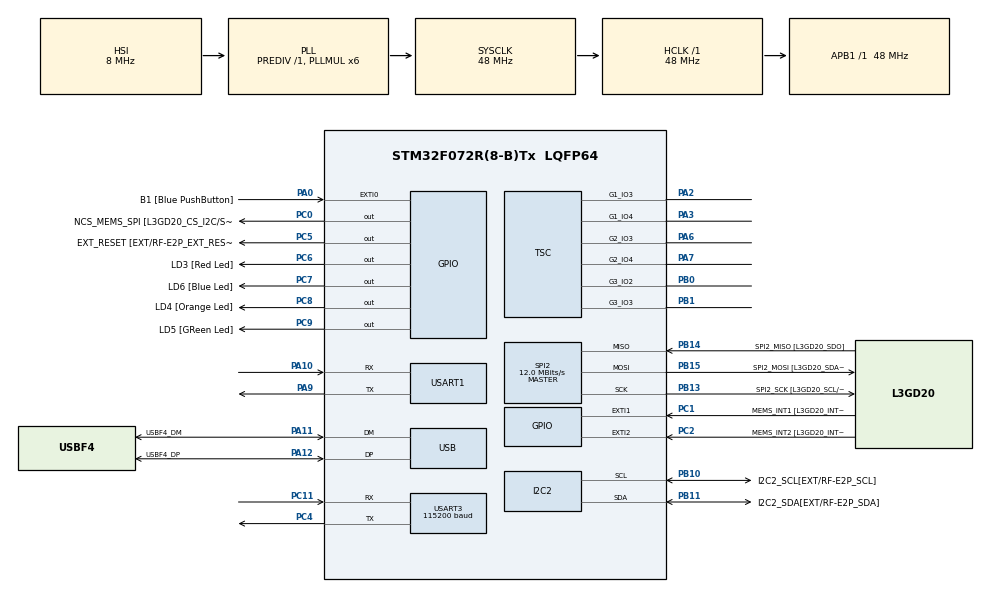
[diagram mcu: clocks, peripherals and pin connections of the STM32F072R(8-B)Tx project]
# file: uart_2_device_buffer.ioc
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I2C2.Timing=0x20303E5D
Mcu.Family=STM32F0
Mcu.Name=STM32F072R(8-B)Tx
Mcu.Package=LQFP64
NVIC.USART1_IRQn=true\:0\:0\:false\:false\:true\:true\:true\:true
NVIC.USART3_4_IRQn=true\:0\:0\:false\:false\:true\:true\:true\:true
PA0.GPIO_Label=B1 [Blue PushButton]
PA0.GPIO_ModeDefaultEXTI=GPIO_MODE_EVT_RISING
PA0.Signal=GPXTI0
PA10.Mode=Asynchronous
PA10.Signal=USART1_RX
PA11.GPIO_Label=USBF4_DM
PA11.Mode=Device
PA11.Signal=USB_DM
PA12.GPIO_Label=USBF4_DP
PA12.Mode=Device
PA12.Signal=USB_DP
PA13.GPIO_Label=SWDIO
PA13.Mode=Serial_Wire
PA13.Signal=SYS_SWDIO
PA14.GPIO_Label=SWCLK
PA14.Mode=Serial_Wire
PA14.Signal=SYS_SWCLK
PA2.Mode=G1_IO3-Channel
PA2.Signal=TSC_G1_IO3
PA3.Mode=G1_IO4-Sampling
PA3.Signal=TSC_G1_IO4
PA6.Mode=G2_IO3-Channel
PA6.Signal=TSC_G2_IO3
PA7.Mode=G2_IO4-Sampling
PA7.Signal=TSC_G2_IO4
PA9.Mode=Asynchronous
PA9.Signal=USART1_TX
PB0.Mode=G3_IO2-Channel
PB0.Signal=TSC_G3_IO2
PB1.Mode=G3_IO3-Sampling
PB1.Signal=TSC_G3_IO3
PB10.GPIO_Label=I2C2_SCL[EXT/RF-E2P_SCL]
PB10.GPIO_Pu=GPIO_PULLUP
PB10.Mode=I2C
PB10.Signal=I2C2_SCL
PB11.GPIO_Label=I2C2_SDA[EXT/RF-E2P_SDA]
PB11.GPIO_Pu=GPIO_PULLUP
PB11.Mode=I2C
PB11.Signal=I2C2_SDA
PB13.GPIO_Label=SPI2_SCK [L3GD20_SCL/SPC]
PB13.Mode=Full_Duplex_Master
PB13.Signal=SPI2_SCK
PB14.GPIO_Label=SPI2_MISO [L3GD20_SDO]
PB14.Mode=Full_Duplex_Master
PB14.Signal=SPI2_MISO
PB15.GPIO_Label=SPI2_MOSI [L3GD20_SDA/SDI]
PB15.Mode=Full_Duplex_Master
PB15.Signal=SPI2_MOSI
PC0.GPIO_Label=NCS_MEMS_SPI [L3GD20_CS_I2C/SPI]
PC0.Signal=GPIO_Output
PC1.GPIO_Label=MEMS_INT1 [L3GD20_INT1]
PC1.GPIO_ModeDefaultEXTI=GPIO_MODE_EVT_RISING
PC1.Signal=GPXTI1
PC11.Mode=Asynchronous
PC11.Signal=USART3_RX
PC2.GPIO_Label=MEMS_INT2 [L3GD20_INT2]
PC2.GPIO_ModeDefaultEXTI=GPIO_MODE_EVT_RISING
PC2.Signal=GPXTI2
PC4.Mode=Asynchronous
PC4.Signal=USART3_TX
PC5.GPIO_Label=EXT_RESET [EXT/RF-E2P_EXT_RESET]
PC5.Signal=GPIO_Output
PC6.GPIO_Label=LD3 [Red Led]
PC6.Signal=GPIO_Output
PC7.GPIO_Label=LD6 [Blue Led]
PC7.Signal=GPIO_Output
PC8.GPIO_Label=LD4 [Orange Led]
PC8.Signal=GPIO_Output
PC9.GPIO_Label=LD5 [GReen Led]
PC9.Signal=GPIO_Output
ProjectManager.HeapSize=0x200
ProjectManager.StackSize=0x400
ProjectManager.TargetToolchain=STM32CubeIDE
RCC.AHBFreq_Value=48000000
RCC.APB1Freq_Value=48000000
RCC.APB1TimFreq_Value=48000000
RCC.HCLKFreq_Value=48000000
RCC.PLLMUL=RCC_PLL_MUL6
RCC.SYSCLKFreq_VALUE=48000000
RCC.SYSCLKSource=RCC_SYSCLKSOURCE_PLLCLK
SPI2.BaudRatePrescaler=SPI_BAUDRATEPRESCALER_4
SPI2.CalculateBaudRate=12.0 MBits/s
SPI2.Direction=SPI_DIRECTION_2LINES
SPI2.Mode=SPI_MODE_MASTER
SPI2.VirtualType=VM_MASTER
USART1.VirtualMode-Asynchronous=VM_ASYNC
USART3.BaudRate=115200
USART3.VirtualMode-Asynchronous=VM_ASYNC
USB.phy_itface=PCD_PHY_EMBEDDED
USB.speed=PCD_SPEED_FULL
board=STM32F072B-DISCO

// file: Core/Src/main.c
/* USER CODE BEGIN Header */
/**
  ******************************************************************************
  * @file           : main.c
  * @brief          : Main program body
  ******************************************************************************
  * @attention
  *
  * Copyright (c) 2026 STMicroelectronics.
  * All rights reserved.
  *
  * This software is licensed under terms that can be found in the LICENSE file
  * in the root directory of this software component.
  * If no LICENSE file comes with this software, it is provided AS-IS.
  *
  ******************************************************************************
  */
/* USER CODE END Header */
#include "main.h"

I2C_HandleTypeDef hi2c2;

SPI_HandleTypeDef hspi2;

TSC_HandleTypeDef htsc;

UART_HandleTypeDef huart1;
UART_HandleTypeDef huart3;

PCD_HandleTypeDef hpcd_USB_FS;

/* USER CODE BEGIN PV */
#define UART_BUF_SIZE 128 // setting a buffer size

uint8_t uart1_rx_byte;
uint8_t uart3_rx_byte;

uint8_t uart1_buffer[UART_BUF_SIZE];
uint8_t uart3_buffer[UART_BUF_SIZE];

volatile uint16_t uart1_head = 0, uart1_tail = 0; // flags
volatile uint16_t uart3_head = 0, uart3_tail = 0;

volatile uint8_t uart1_rx_flag = 0;
volatile uint8_t uart3_rx_flag = 0;

volatile uint8_t uart1_overflow = 0;
volatile uint8_t uart3_overflow = 0;
/* USER CODE END PV */

void SystemClock_Config(void);
static void MX_GPIO_Init(void);
static void MX_I2C2_Init(void);
static void MX_SPI2_Init(void);
static void MX_TSC_Init(void);
static void MX_USB_PCD_Init(void);
static void MX_USART1_UART_Init(void);
static void MX_USART3_UART_Init(void);

int main(void)
{

  /* MCU Configuration--------------------------------------------------------*/

  /* Reset of all peripherals, Initializes the Flash interface and the Systick. */
  HAL_Init();

  /* Configure the system clock */
  SystemClock_Config();

  /* Initialize all configured peripherals */
  MX_GPIO_Init();
  MX_I2C2_Init();
  MX_SPI2_Init();
  MX_TSC_Init();
  MX_USB_PCD_Init();
  MX_USART1_UART_Init();
  MX_USART3_UART_Init();
  /* USER CODE BEGIN 2 */
  HAL_UART_Receive_IT(&huart1, &uart1_rx_byte, 1);
  HAL_UART_Receive_IT(&huart3, &uart3_rx_byte, 1);
  /* USER CODE END 2 */

  /* Infinite loop */
  /* USER CODE BEGIN WHILE */
  while (1)
  {
      // USART1 -> USART3
      while (uart1_tail != uart1_head)
      {
          uint8_t data = uart1_buffer[uart1_tail];

          uart1_tail = (uart1_tail + 1) % UART_BUF_SIZE;

          HAL_UART_Transmit(&huart3, &data, 1, 10);
      }

      if (uart1_tail == uart1_head)
          uart1_rx_flag = 0;

      // USART3 -> USART1
      while (uart3_tail != uart3_head)
      {
          uint8_t data = uart3_buffer[uart3_tail];

          uart3_tail = (uart3_tail + 1) % UART_BUF_SIZE;

          HAL_UART_Transmit(&huart1, &data, 1, 10);
      }

      if (uart3_tail == uart3_head)
          uart3_rx_flag = 0;
  }
  /* USER CODE END 3 */
}

void SystemClock_Config(void)
{
  RCC_OscInitTypeDef RCC_OscInitStruct = {0};
  RCC_ClkInitTypeDef RCC_ClkInitStruct = {0};
  RCC_PeriphCLKInitTypeDef PeriphClkInit = {0};

  /** Initializes the RCC Oscillators according to the specified parameters
  * in the RCC_OscInitTypeDef structure.
  */
  RCC_OscInitStruct.OscillatorType = RCC_OSCILLATORTYPE_HSI|RCC_OSCILLATORTYPE_HSI48;
  RCC_OscInitStruct.HSIState = RCC_HSI_ON;
  RCC_OscInitStruct.HSI48State = RCC_HSI48_ON;
  RCC_OscInitStruct.HSICalibrationValue = RCC_HSICALIBRATION_DEFAULT;
  RCC_OscInitStruct.PLL.PLLState = RCC_PLL_ON;
  RCC_OscInitStruct.PLL.PLLSource = RCC_PLLSOURCE_HSI;
  RCC_OscInitStruct.PLL.PLLMUL = RCC_PLL_MUL6;
  RCC_OscInitStruct.PLL.PREDIV = RCC_PREDIV_DIV1;
  if (HAL_RCC_OscConfig(&RCC_OscInitStruct) != HAL_OK)
  {
    Error_Handler();
  }

  /** Initializes the CPU, AHB and APB buses clocks
  */
  RCC_ClkInitStruct.ClockType = RCC_CLOCKTYPE_HCLK|RCC_CLOCKTYPE_SYSCLK
                              |RCC_CLOCKTYPE_PCLK1;
  RCC_ClkInitStruct.SYSCLKSource = RCC_SYSCLKSOURCE_PLLCLK;
  RCC_ClkInitStruct.AHBCLKDivider = RCC_SYSCLK_DIV1;
  RCC_ClkInitStruct.APB1CLKDivider = RCC_HCLK_DIV1;

  if (HAL_RCC_ClockConfig(&RCC_ClkInitStruct, FLASH_LATENCY_1) != HAL_OK)
  {
    Error_Handler();
  }
  PeriphClkInit.PeriphClockSelection = RCC_PERIPHCLK_USB|RCC_PERIPHCLK_USART1;
  PeriphClkInit.Usart1ClockSelection = RCC_USART1CLKSOURCE_PCLK1;
  PeriphClkInit.UsbClockSelection = RCC_USBCLKSOURCE_HSI48;

  if (HAL_RCCEx_PeriphCLKConfig(&PeriphClkInit) != HAL_OK)
  {
    Error_Handler();
  }
}

static void MX_I2C2_Init(void)
{

  hi2c2.Instance = I2C2;
  hi2c2.Init.Timing = 0x20303E5D;
  hi2c2.Init.OwnAddress1 = 0;
  hi2c2.Init.AddressingMode = I2C_ADDRESSINGMODE_7BIT;
  hi2c2.Init.DualAddressMode = I2C_DUALADDRESS_DISABLE;
  hi2c2.Init.OwnAddress2 = 0;
  hi2c2.Init.OwnAddress2Masks = I2C_OA2_NOMASK;
  hi2c2.Init.GeneralCallMode = I2C_GENERALCALL_DISABLE;
  hi2c2.Init.NoStretchMode = I2C_NOSTRETCH_DISABLE;
  if (HAL_I2C_Init(&hi2c2) != HAL_OK)
  {
    Error_Handler();
  }

  /** Configure Analogue filter
  */
  if (HAL_I2CEx_ConfigAnalogFilter(&hi2c2, I2C_ANALOGFILTER_ENABLE) != HAL_OK)
  {
    Error_Handler();
  }

  /** Configure Digital filter
  */
  if (HAL_I2CEx_ConfigDigitalFilter(&hi2c2, 0) != HAL_OK)
  {
    Error_Handler();
  }

}

static void MX_SPI2_Init(void)
{

  /* SPI2 parameter configuration*/
  hspi2.Instance = SPI2;
  hspi2.Init.Mode = SPI_MODE_MASTER;
  hspi2.Init.Direction = SPI_DIRECTION_2LINES;
  hspi2.Init.DataSize = SPI_DATASIZE_4BIT;
  hspi2.Init.CLKPolarity = SPI_POLARITY_LOW;
  hspi2.Init.CLKPhase = SPI_PHASE_1EDGE;
  hspi2.Init.NSS = SPI_NSS_SOFT;
  hspi2.Init.BaudRatePrescaler = SPI_BAUDRATEPRESCALER_4;
  hspi2.Init.FirstBit = SPI_FIRSTBIT_MSB;
  hspi2.Init.TIMode = SPI_TIMODE_DISABLE;
  hspi2.Init.CRCCalculation = SPI_CRCCALCULATION_DISABLE;
  hspi2.Init.CRCPolynomial = 7;
  hspi2.Init.CRCLength = SPI_CRC_LENGTH_DATASIZE;
  hspi2.Init.NSSPMode = SPI_NSS_PULSE_ENABLE;
  if (HAL_SPI_Init(&hspi2) != HAL_OK)
  {
    Error_Handler();
  }

}

static void MX_TSC_Init(void)
{

  /** Configure the TSC peripheral
  */
  htsc.Instance = TSC;
  htsc.Init.CTPulseHighLength = TSC_CTPH_2CYCLES;
  htsc.Init.CTPulseLowLength = TSC_CTPL_2CYCLES;
  htsc.Init.SpreadSpectrum = DISABLE;
  htsc.Init.SpreadSpectrumDeviation = 1;
  htsc.Init.SpreadSpectrumPrescaler = TSC_SS_PRESC_DIV1;
  htsc.Init.PulseGeneratorPrescaler = TSC_PG_PRESC_DIV4;
  htsc.Init.MaxCountValue = TSC_MCV_8191;
  htsc.Init.IODefaultMode = TSC_IODEF_OUT_PP_LOW;
  htsc.Init.SynchroPinPolarity = TSC_SYNC_POLARITY_FALLING;
  htsc.Init.AcquisitionMode = TSC_ACQ_MODE_NORMAL;
  htsc.Init.MaxCountInterrupt = DISABLE;
  htsc.Init.ChannelIOs = TSC_GROUP1_IO3|TSC_GROUP2_IO3|TSC_GROUP3_IO2;
  htsc.Init.ShieldIOs = 0;
  htsc.Init.SamplingIOs = TSC_GROUP1_IO4|TSC_GROUP2_IO4|TSC_GROUP3_IO3;
  if (HAL_TSC_Init(&htsc) != HAL_OK)
  {
    Error_Handler();
  }

}

static void MX_USART1_UART_Init(void)
{

  huart1.Instance = USART1;
  huart1.Init.BaudRate = 38400;
  huart1.Init.WordLength = UART_WORDLENGTH_8B;
  huart1.Init.StopBits = UART_STOPBITS_1;
  huart1.Init.Parity = UART_PARITY_NONE;
  huart1.Init.Mode = UART_MODE_TX_RX;
  huart1.Init.HwFlowCtl = UART_HWCONTROL_NONE;
  huart1.Init.OverSampling = UART_OVERSAMPLING_16;
  huart1.Init.OneBitSampling = UART_ONE_BIT_SAMPLE_DISABLE;
  huart1.AdvancedInit.AdvFeatureInit = UART_ADVFEATURE_NO_INIT;
  if (HAL_UART_Init(&huart1) != HAL_OK)
  {
    Error_Handler();
  }

}

static void MX_USART3_UART_Init(void)
{

  huart3.Instance = USART3;
  huart3.Init.BaudRate = 115200;
  huart3.Init.WordLength = UART_WORDLENGTH_8B;
  huart3.Init.StopBits = UART_STOPBITS_1;
  huart3.Init.Parity = UART_PARITY_NONE;
  huart3.Init.Mode = UART_MODE_TX_RX;
  huart3.Init.HwFlowCtl = UART_HWCONTROL_NONE;
  huart3.Init.OverSampling = UART_OVERSAMPLING_16;
  huart3.Init.OneBitSampling = UART_ONE_BIT_SAMPLE_DISABLE;
  huart3.AdvancedInit.AdvFeatureInit = UART_ADVFEATURE_NO_INIT;
  if (HAL_UART_Init(&huart3) != HAL_OK)
  {
    Error_Handler();
  }

}

static void MX_USB_PCD_Init(void)
{

  hpcd_USB_FS.Instance = USB;
  hpcd_USB_FS.Init.dev_endpoints = 8;
  hpcd_USB_FS.Init.speed = PCD_SPEED_FULL;
  hpcd_USB_FS.Init.phy_itface = PCD_PHY_EMBEDDED;
  hpcd_USB_FS.Init.low_power_enable = DISABLE;
  hpcd_USB_FS.Init.lpm_enable = DISABLE;
  hpcd_USB_FS.Init.battery_charging_enable = DISABLE;
  if (HAL_PCD_Init(&hpcd_USB_FS) != HAL_OK)
  {
    Error_Handler();
  }

}

static void MX_GPIO_Init(void)
{
  GPIO_InitTypeDef GPIO_InitStruct = {0};

  /* GPIO Ports Clock Enable */
  __HAL_RCC_GPIOC_CLK_ENABLE();
  __HAL_RCC_GPIOA_CLK_ENABLE();
  __HAL_RCC_GPIOB_CLK_ENABLE();

  /*Configure GPIO pin Output Level */
  HAL_GPIO_WritePin(GPIOC, NCS_MEMS_SPI_Pin|EXT_RESET_Pin|LD3_Pin|LD6_Pin
                          |LD4_Pin|LD5_Pin, GPIO_PIN_RESET);

  /*Configure GPIO pins : NCS_MEMS_SPI_Pin EXT_RESET_Pin LD3_Pin LD6_Pin
                           LD4_Pin LD5_Pin */
  GPIO_InitStruct.Pin = NCS_MEMS_SPI_Pin|EXT_RESET_Pin|LD3_Pin|LD6_Pin
                          |LD4_Pin|LD5_Pin;
  GPIO_InitStruct.Mode = GPIO_MODE_OUTPUT_PP;
  GPIO_InitStruct.Pull = GPIO_NOPULL;
  GPIO_InitStruct.Speed = GPIO_SPEED_FREQ_LOW;
  HAL_GPIO_Init(GPIOC, &GPIO_InitStruct);

  /*Configure GPIO pins : MEMS_INT1_Pin MEMS_INT2_Pin */
  GPIO_InitStruct.Pin = MEMS_INT1_Pin|MEMS_INT2_Pin;
  GPIO_InitStruct.Mode = GPIO_MODE_EVT_RISING;
  GPIO_InitStruct.Pull = GPIO_NOPULL;
  HAL_GPIO_Init(GPIOC, &GPIO_InitStruct);

  /*Configure GPIO pin : B1_Pin */
  GPIO_InitStruct.Pin = B1_Pin;
  GPIO_InitStruct.Mode = GPIO_MODE_EVT_RISING;
  GPIO_InitStruct.Pull = GPIO_NOPULL;
  HAL_GPIO_Init(B1_GPIO_Port, &GPIO_InitStruct);

}

/* USER CODE BEGIN 4 */
void HAL_UART_RxCpltCallback(UART_HandleTypeDef *huart)
{
    if (huart->Instance == USART1)
    {
        uint16_t next = (uart1_head + 1) % UART_BUF_SIZE;

        if (next != uart1_tail)
        {
            uart1_buffer[uart1_head] = uart1_rx_byte;
            uart1_head = next;
            uart1_rx_flag = 1;
        }
        else
        {
            uart1_overflow = 1;
        }

        HAL_UART_Receive_IT(&huart1, &uart1_rx_byte, 1);
    }
    else if (huart->Instance == USART3)
    {
        uint16_t next = (uart3_head + 1) % UART_BUF_SIZE;

        if (next != uart3_tail)
        {
            uart3_buffer[uart3_head] = uart3_rx_byte;
            uart3_head = next;
            uart3_rx_flag = 1;
        }
        else
        {
            uart3_overflow = 1;
        }

        HAL_UART_Receive_IT(&huart3, &uart3_rx_byte, 1);
    }
}
/* USER CODE END 4 */

void Error_Handler(void)
{
  __disable_irq();
  while (1)
  {
  }
}
